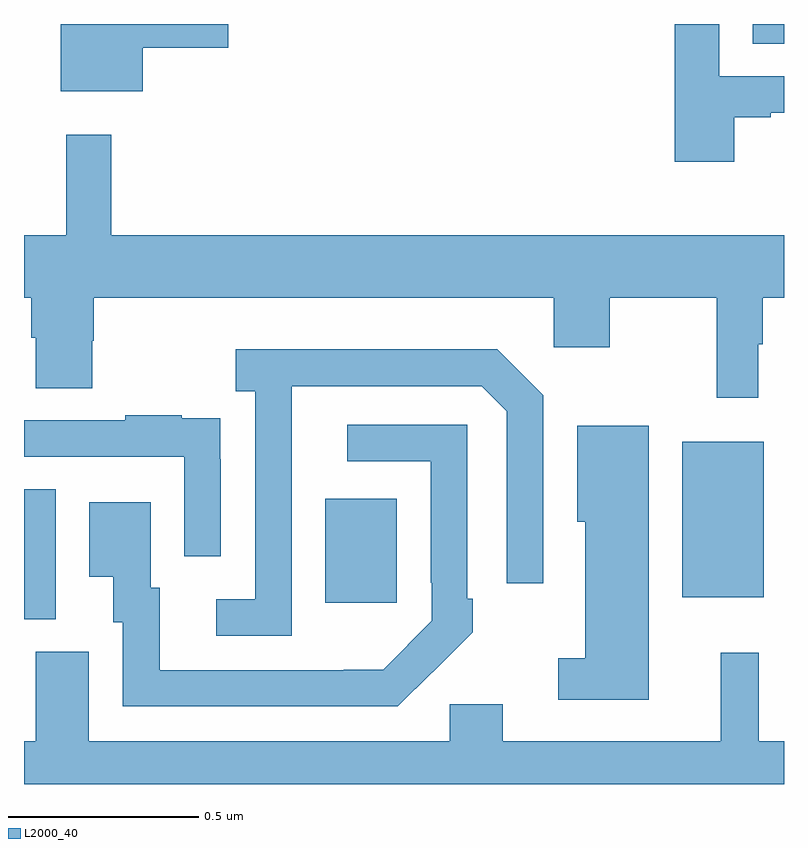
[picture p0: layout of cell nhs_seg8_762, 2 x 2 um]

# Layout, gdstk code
import gdstk
lib = gdstk.Library(unit=1e-6, precision=1e-09)
def R(c, l, rs):  # rectangles x0, y0, x1, y1
    for r in rs: c.add(gdstk.rectangle(r[:2], r[2:], *l))
def P(c, l, *ps):  # polygons
    for p in ps: c.add(gdstk.Polygon(p, *l))
L2000_40 = (2000, 40)

nhs_seg8_762 = lib.new_cell('nhs_seg8_762')
R(nhs_seg8_762, L2000_40, [(121,1102.333,121.084,1102.676), (121.793,1102.377,121.981,1102.651), (122.732,1102.391,122.947,1102.801), (122.918,1103.848,123,1103.9)])
P(nhs_seg8_762, L2000_40, [(121.312,1103.837),(121.537,1103.837),(121.537,1103.9),(121.097,1103.9),(121.097,1103.723),(121.312,1103.723)],
  [(122.869,1103.655),(122.965,1103.655),(122.965,1103.667),(123,1103.667),(123,1103.763),(122.829,1103.763),(122.829,1103.9),(122.713,1103.9),(122.713,1103.538),(122.869,1103.538)],
  [(122.932,1103.057),(122.944,1103.057),(122.944,1103.18),(123,1103.18),(123,1103.344),(121.229,1103.344),(121.229,1103.608),(121.111,1103.608),(121.111,1103.344),(121,1103.344),(121,1103.18),(121.019,1103.18),(121.019,1103.074),(121.031,1103.074),(121.031,1102.942),(121.179,1102.942),(121.179,1103.067),(121.184,1103.067),(121.184,1103.18),(122.394,1103.18),(122.394,1103.049),(122.541,1103.049),(122.541,1103.18),(122.823,1103.18),(122.823,1102.917),(122.932,1102.917)],
  [(121.704,1102.747),(121.705,1102.747),(121.705,1102.947),(122.205,1102.947),(122.271,1102.881),(122.271,1102.428),(122.367,1102.428),(122.367,1102.923),(122.246,1103.044),(121.557,1103.044),(121.557,1102.934),(121.608,1102.934),(121.608,1102.386),(121.506,1102.386),(121.506,1102.29),(121.704,1102.29)],
  [(121.518,1102.754),(121.517,1102.754),(121.517,1102.863),(121.415,1102.863),(121.415,1102.87),(121.267,1102.87),(121.267,1102.857),(121,1102.857),(121,1102.761),(121.422,1102.761),(121.422,1102.5),(121.518,1102.5)],
  [(122.075,1102.195),(122.076,1102.194),(122.181,1102.299),(122.181,1102.387),(122.166,1102.387),(122.166,1102.845),(121.851,1102.845),(121.851,1102.749),(122.07,1102.749),(122.07,1102.429),(122.073,1102.429),(122.073,1102.329),(121.945,1102.201),(121.841,1102.201),(121.841,1102.2),(121.357,1102.2),(121.357,1102.416),(121.333,1102.416),(121.333,1102.642),(121.172,1102.642),(121.172,1102.445),(121.235,1102.445),(121.235,1102.326),(121.26,1102.326),(121.26,1102.104),(121.984,1102.104)],
  [(122.644,1102.843),(122.456,1102.843),(122.456,1102.59),(122.477,1102.59),(122.477,1102.231),(122.406,1102.231),(122.406,1102.122),(122.644,1102.122)],
  [(123,1102.012),(122.933,1102.012),(122.933,1102.246),(122.834,1102.246),(122.834,1102.012),(122.26,1102.012),(122.26,1102.11),(122.121,1102.11),(122.121,1102.012),(121.171,1102.012),(121.171,1102.248),(121.031,1102.248),(121.031,1102.012),(121,1102.012),(121,1101.9),(123,1101.9)])

lib.write_gds('nhs_seg8_762.gds')
